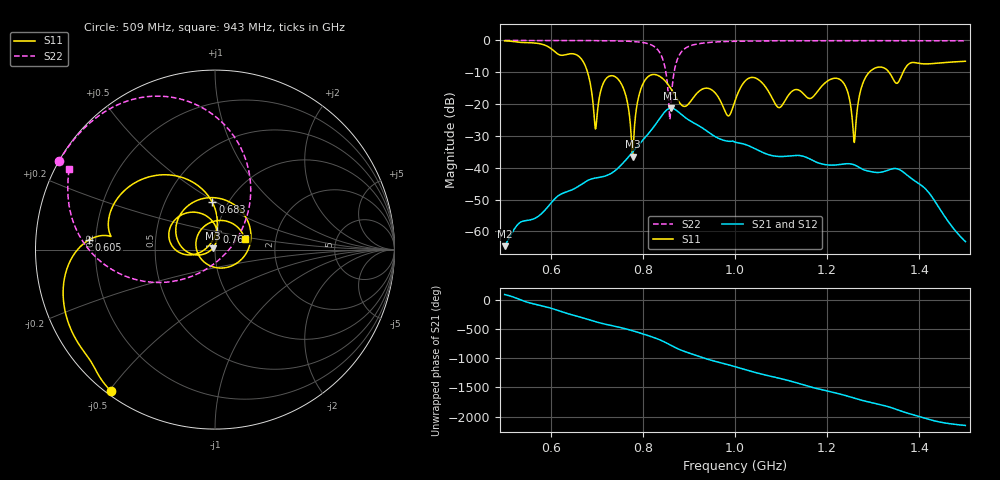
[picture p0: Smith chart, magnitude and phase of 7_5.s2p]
! TOUCHSTONE file generated by CST MICROWAVE STUDIO
! Date and time: Mon Nov 30 08:39:41 2020
! Project name: Scenario_1_Planar_Body_Tissue_Out_of_Line.cst
! Parameters = {dy1=-242.2; L_HA=400; Ltissue=700; MT=2.54; Rad_Dielectric=30; Rad_Lower=7.3; Rad_Upper=30; Wtissue=700; a_HA=580; a_WG=246; b_HA=500; b_WG=121; c_HA=0; c_WG=187; d_feed=85; dx1=866; h_feed=15; h_lower=18; h_upper=40; hfat=3; hgap=25; hmuscle=50; hskin=1.5}
! Header version: 2018
! Port assignment regex: !\s*Touchstone port\s*([0-9]+)\s*=\s*(CST MWS port|CST DS port)\s*([0-9]+|Zmin|Zmax)\s*\(\"(.*)\"\)(\s*mode\s*([0-9]+))?.*
! Touchstone port assignment:
! Touchstone port 1 = CST MWS port 1 ("")
! Touchstone port 2 = CST MWS port 2 ("")
# GHz S DB R 50
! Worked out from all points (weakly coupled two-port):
!   1003 points, 500 MHz to 1.5 GHz, reference 50 ohm
!   highest |S21| = -21.26 dB at 861 MHz (marker M1); lowest = -64.6 dB at 500 MHz (marker M2)
!   lowest |S11| = -36.5 dB at 778 MHz (marker M3), VSWR 1.03, Z = 48.7 + j0.619 ohm
!   |S11| at or under -10 dB: 680.1 MHz to 1.291 GHz (611.2 MHz wide, 62 % of centre); 1.334 GHz to 1.365 GHz (30.36 MHz wide, 2.25 % of centre)
!   |S22| runs from -24.8 to 0.0 dB; largest |S21 - S12| = 7.3e-05
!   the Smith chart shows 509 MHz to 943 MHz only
!   S11 on the Smith chart (normalised r, x): 509 MHz: 0.01, -0.51; 605 MHz: 0.17, +0.04; 683 MHz: 0.85, +0.48; 767 MHz: 1.00, +0.21; 943 MHz: 1.39, +0.17
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0.5  -0.12 -122.1  -64.63 93.4  -64.63 93.4  -0.01 151.2
0.509  -0.19 -126.3  -62.32 75.5  -62.32 75.5  -0.01 150.6
0.605  -3.04 175.6  -50.36 -151.3  -50.36 -151.3  -0.02 143.8
0.667  -5.90 124.7  -45.17 59.9  -45.17 59.9  -0.04 138.4
0.683  -11.57 93.2  -43.81 21.6  -43.81 21.6  -0.05 136.8
0.697  -27.82 133.5  -43.21 -11.8  -43.21 -11.8  -0.06 135.2
0.728  -11.17 157.1  -42.02 -71.9  -42.02 -71.9  -0.11 131.2
0.767  -19.82 83.3  -36.91 -143.6  -36.91 -143.6  -0.25 124.0
0.778  -36.51 154.8  -35.01 -167.8  -35.01 -167.8  -0.33 121.0
0.799  -14.03 171.6  -31.46 141.2  -31.46 141.2  -0.64 113.4
0.834  -11.08 75.1  -25.06 45.9  -25.06 45.9  -3.22 85.0
0.861  -15.15 -7.0  -21.26 -58.1  -21.26 -58.1  -20.07 -106.1
0.882  -19.98 -87.8  -23.05 -136.9  -23.05 -136.9  -3.94 -173.6
0.943  -15.09 19.1  -28.88 58.7  -28.88 58.7  -0.64 150.9
1  -18.98 109.2  -31.92 -64.0  -31.93 -64.0  -0.27 140.3
1.037  -11.61 -12.9  -33.57 -148.3  -33.57 -148.3  -0.19 135.9
1.167  -18.00 172.3  -37.58 -57.9  -37.58 -57.9  -0.10 124.3
1.229  -12.39 5.8  -38.94 -175.5  -38.94 -175.5  -0.09 119.5
1.259  -32.05 24.6  -39.10 114.8  -39.10 114.8  -0.09 117.2
1.285  -11.20 51.1  -40.89 61.3  -40.84 61.4  -0.09 115.3
1.334  -9.93 -14.6  -40.65 -33.3  -40.65 -33.3  -0.08 111.6
1.5  -6.54 -44.8  -63.18 8.0  -63.18 8.0  -0.13 98.0
